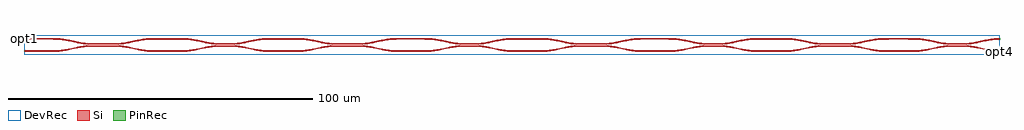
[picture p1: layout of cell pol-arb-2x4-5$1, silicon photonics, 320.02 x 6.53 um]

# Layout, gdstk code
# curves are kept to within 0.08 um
import gdstk
lib = gdstk.Library(unit=1e-6, precision=1e-09)
def R(c, l, rs):  # rectangles x0, y0, x1, y1
    for r in rs: c.add(gdstk.rectangle(r[:2], r[2:], *l))
def P(c, l, *ps):  # polygons
    for p in ps: c.add(gdstk.Polygon(p, *l))
Si = (1, 0)
PinRec = (1, 10)
DevRec = (68, 0)

layer_0_0_phase_sec_0_10 = lib.new_cell('layer-0_0_phase_sec_0$10')
P(layer_0_0_phase_sec_0_10, Si, [(0,-0.225),(0,0.225),(10,0.225),(10,-0.225)])

layer_0_0_phase_sec_1_10 = lib.new_cell('layer-0_0_phase_sec_1$10')
P(layer_0_0_phase_sec_1_10, Si, [(7.923,-0.226),(0,-0.225),(0,0.225),(10,0.225),(10,-0.225)])

dc_arm_up_8_10 = lib.new_cell('dc_arm_up_8$10')
R(dc_arm_up_8_10, Si, [(12,0.1,20,0.55)])
P(dc_arm_up_8_10, Si, [(20,0.1),(20,0.55),(21.481,0.613),(22.966,0.793),(29.344,2.033),(30.861,2.188),(32,2.225),(32,1.775),(30.519,1.712),(29.034,1.532),(22.656,0.292),(21.139,0.137)],
  [(12,0.1),(10.861,0.137),(9.344,0.292),(2.966,1.532),(1.481,1.712),(0,1.775),(0,2.225),(1.139,2.188),(2.656,2.033),(9.034,0.793),(10.519,0.613),(12,0.55)])

dc_arm_down_8_10 = lib.new_cell('dc_arm_down_8$10')
R(dc_arm_down_8_10, Si, [(12,-0.55,20,-0.1)])
P(dc_arm_down_8_10, Si, [(32,-2.225),(30.861,-2.188),(29.344,-2.033),(22.966,-0.793),(21.481,-0.613),(20,-0.55),(20,-0.1),(21.139,-0.137),(22.656,-0.292),(29.034,-1.532),(30.519,-1.712),(32,-1.775)],
  [(0,-2.225),(0,-1.775),(1.481,-1.712),(2.966,-1.532),(9.344,-0.292),(10.861,-0.137),(12,-0.1),(12,-0.55),(10.519,-0.613),(9.034,-0.793),(2.656,-2.033),(1.139,-2.188)])

dc_8_10 = lib.new_cell('dc_8$10')
dc_8_10.add(gdstk.Reference(dc_arm_up_8_10, (0,0)))
dc_8_10.add(gdstk.Reference(dc_arm_down_8_10, (0,0)))

layer_0_0_phase_sec_3_10 = lib.new_cell('layer-0_0_phase_sec_3$10')
P(layer_0_0_phase_sec_3_10, Si, [(0,-0.225),(0,0.225),(10,0.225),(10,-0.225)])

dc_arm_up_4_10 = lib.new_cell('dc_arm_up_4$10')
R(dc_arm_up_4_10, Si, [(12,0.1,16,0.55)])
P(dc_arm_up_4_10, Si, [(16,0.1),(16,0.55),(17.481,0.613),(18.966,0.793),(25.344,2.033),(26.861,2.188),(28,2.225),(28,1.775),(26.519,1.712),(25.034,1.532),(18.656,0.292),(17.139,0.137)],
  [(12,0.1),(10.861,0.137),(9.344,0.292),(2.966,1.532),(1.481,1.712),(0,1.775),(0,2.225),(1.139,2.188),(2.656,2.033),(9.034,0.793),(10.519,0.613),(12,0.55)])

dc_arm_down_4_10 = lib.new_cell('dc_arm_down_4$10')
R(dc_arm_down_4_10, Si, [(12,-0.55,16,-0.1)])
P(dc_arm_down_4_10, Si, [(28,-2.225),(26.861,-2.188),(25.344,-2.033),(18.966,-0.793),(17.481,-0.613),(16,-0.55),(16,-0.1),(17.139,-0.137),(18.656,-0.292),(25.034,-1.532),(26.519,-1.712),(28,-1.775)],
  [(0,-2.225),(0,-1.775),(1.481,-1.712),(2.966,-1.532),(9.344,-0.292),(10.861,-0.137),(12,-0.1),(12,-0.55),(10.519,-0.613),(9.034,-0.793),(2.656,-2.033),(1.139,-2.188)])

dc_4_10 = lib.new_cell('dc_4$10')
dc_4_10.add(gdstk.Reference(dc_arm_up_4_10, (0,0)))
dc_4_10.add(gdstk.Reference(dc_arm_down_4_10, (0,0)))

layer_1_0_phase_sec_0_10 = lib.new_cell('layer-1_0_phase_sec_0$10')
P(layer_1_0_phase_sec_0_10, Si, [(1.585,-0.243),(0,-0.225),(0,0.225),(10,0.225),(10,-0.225)])

layer_1_0_phase_sec_1_10 = lib.new_cell('layer-1_0_phase_sec_1$10')
P(layer_1_0_phase_sec_1_10, Si, [(0,-0.225),(0,0.225),(10,0.225),(10,-0.225)])

layer_1_0_phase_sec_2_10 = lib.new_cell('layer-1_0_phase_sec_2$10')
P(layer_1_0_phase_sec_2_10, Si, [(0,-0.225),(0,0.225),(1.57,0.215),(6.279,0.215),(7.848,0.214),(9.418,0.225),(10,0.225),(10,-0.225),(9.418,-0.225),(7.848,-0.214),(6.279,-0.215),(1.57,-0.215)])

layer_1_0_phase_sec_3_10 = lib.new_cell('layer-1_0_phase_sec_3$10')
P(layer_1_0_phase_sec_3_10, Si, [(4.829,-0.282),(0,-0.225),(0,0.225),(4.829,0.282),(10,0.225),(10,-0.225)])

layer_2_0_phase_sec_0_10 = lib.new_cell('layer-2_0_phase_sec_0$10')
P(layer_2_0_phase_sec_0_10, Si, [(4.752,-0.233),(0,-0.225),(0,0.225),(10,0.225),(10,-0.225)])

layer_2_0_phase_sec_1_10 = lib.new_cell('layer-2_0_phase_sec_1$10')
P(layer_2_0_phase_sec_1_10, Si, [(0,-0.225),(0,0.225),(10,0.225),(10,-0.225)])

layer_3_0_phase_sec_2_10 = lib.new_cell('layer-3_0_phase_sec_2$10')
P(layer_3_0_phase_sec_2_10, Si, [(0,-0.225),(0,0.225),(10,0.225),(10,-0.225)])

layer_2_0_phase_sec_3_10 = lib.new_cell('layer-2_0_phase_sec_3$10')
P(layer_2_0_phase_sec_3_10, Si, [(6.385,-0.254),(0,-0.225),(0,0.225),(10,0.225),(10,-0.225)])

layer_2_0_phase_sec_2_10 = lib.new_cell('layer-2_0_phase_sec_2$10')
P(layer_2_0_phase_sec_2_10, Si, [(0,-0.225),(0,0.225),(10,0.225),(10,-0.225)])

layer_3_0_phase_sec_1_10 = lib.new_cell('layer-3_0_phase_sec_1$10')
P(layer_3_0_phase_sec_1_10, Si, [(0,-0.225),(0,0.225),(10,0.225),(10,-0.225)])

layer_3_0_phase_sec_0_10 = lib.new_cell('layer-3_0_phase_sec_0$10')
P(layer_3_0_phase_sec_0_10, Si, [(1.589,-0.243),(0,-0.225),(0,0.225),(10,0.225),(10,-0.225)])

layer_0_0_phase_sec_2_10 = lib.new_cell('layer-0_0_phase_sec_2$10')
P(layer_0_0_phase_sec_2_10, Si, [(6.358,-0.24),(0,-0.225),(0,0.225),(10,0.225),(10,-0.225)])

layer_3_0_phase_sec_3_10 = lib.new_cell('layer-3_0_phase_sec_3$10')
P(layer_3_0_phase_sec_3_10, Si, [(3.161,-0.227),(0,-0.225),(0,0.225),(10,0.225),(10,-0.225)])

pol_arb_2x4_5_1 = lib.new_cell('pol-arb-2x4-5$1')
R(pol_arb_2x4_5_1, DevRec, [(0,-1,320,5.525)])
pol_arb_2x4_5_1.add(gdstk.FlexPath([(319.99,0.282),(320.01,0.282)], 0.45, ends="flush", simple_path=True, layer=1, datatype=10))  # PinRec
pol_arb_2x4_5_1.add(gdstk.FlexPath([(319.99,4.282),(320.01,4.282)], 0.45, ends="flush", simple_path=True, layer=1, datatype=10))  # PinRec
pol_arb_2x4_5_1.add(gdstk.FlexPath([(0.01,0.282),(-0.01,0.282)], 0.45, ends="flush", simple_path=True, layer=1, datatype=10))  # PinRec
pol_arb_2x4_5_1.add(gdstk.FlexPath([(0.01,4.282),(-0.01,4.282)], 0.45, ends="flush", simple_path=True, layer=1, datatype=10))  # PinRec
pol_arb_2x4_5_1.add(gdstk.Reference(layer_0_0_phase_sec_0_10, (0,4.282)))
pol_arb_2x4_5_1.add(gdstk.Reference(layer_0_0_phase_sec_1_10, (0,0.282)))
pol_arb_2x4_5_1.add(gdstk.Reference(dc_8_10, (10,2.282)))
pol_arb_2x4_5_1.add(gdstk.Reference(dc_8_10, (90,2.282)))
pol_arb_2x4_5_1.add(gdstk.Reference(dc_8_10, (170,2.282)))
pol_arb_2x4_5_1.add(gdstk.Reference(dc_8_10, (250,2.282)))
pol_arb_2x4_5_1.add(gdstk.Reference(layer_0_0_phase_sec_3_10, (42,0.282)))
pol_arb_2x4_5_1.add(gdstk.Reference(dc_4_10, (52,2.282)))
pol_arb_2x4_5_1.add(gdstk.Reference(dc_4_10, (132,2.282)))
pol_arb_2x4_5_1.add(gdstk.Reference(dc_4_10, (212,2.282)))
pol_arb_2x4_5_1.add(gdstk.Reference(dc_4_10, (292,2.282)))
pol_arb_2x4_5_1.add(gdstk.Reference(layer_1_0_phase_sec_0_10, (80,4.282)))
pol_arb_2x4_5_1.add(gdstk.Reference(layer_1_0_phase_sec_1_10, (80,0.282)))
pol_arb_2x4_5_1.add(gdstk.Reference(layer_1_0_phase_sec_2_10, (122,4.282)))
pol_arb_2x4_5_1.add(gdstk.Reference(layer_1_0_phase_sec_3_10, (122,0.282)))
pol_arb_2x4_5_1.add(gdstk.Reference(layer_2_0_phase_sec_0_10, (160,4.282)))
pol_arb_2x4_5_1.add(gdstk.Reference(layer_2_0_phase_sec_1_10, (160,0.282)))
pol_arb_2x4_5_1.add(gdstk.Reference(layer_3_0_phase_sec_2_10, (282,4.282)))
pol_arb_2x4_5_1.add(gdstk.Reference(layer_2_0_phase_sec_3_10, (202,0.282)))
pol_arb_2x4_5_1.add(gdstk.Reference(layer_2_0_phase_sec_2_10, (202,4.282)))
pol_arb_2x4_5_1.add(gdstk.Reference(layer_3_0_phase_sec_1_10, (240,0.282)))
pol_arb_2x4_5_1.add(gdstk.Reference(layer_3_0_phase_sec_0_10, (240,4.282)))
pol_arb_2x4_5_1.add(gdstk.Reference(layer_0_0_phase_sec_2_10, (42,4.282)))
pol_arb_2x4_5_1.add(gdstk.Reference(layer_3_0_phase_sec_3_10, (282,0.282)))
pol_arb_2x4_5_1.add(gdstk.Label('opt4', (320,0.282), layer=1, texttype=10))
pol_arb_2x4_5_1.add(gdstk.Label('opt3', (320,4.282), layer=1, texttype=10))
pol_arb_2x4_5_1.add(gdstk.Label('opt1', (0,4.282), layer=1, texttype=10))
pol_arb_2x4_5_1.add(gdstk.Label('opt2', (0,0.282), layer=1, texttype=10))

lib.write_gds('pol-arb-2x4-5_1.gds')
